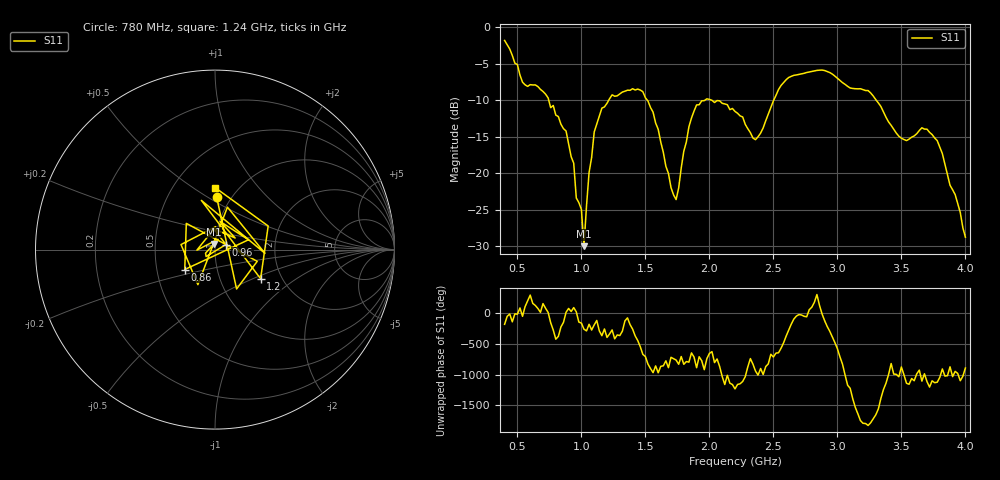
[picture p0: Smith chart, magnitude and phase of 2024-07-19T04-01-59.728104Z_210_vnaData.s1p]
!Created with skrf (http://scikit-rf.org).
# Hz S RI R 50.0
!freq ReS11 ImS11
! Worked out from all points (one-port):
!   181 points, 400 MHz to 4 GHz, reference 50 ohm
!   lowest |S11| = -30.0 dB at 1.02 GHz (marker M1), VSWR 1.07, Z = 49.3 + j3.04 ohm
!   |S11| at or under -10 dB: 744.9 MHz to 1.213 GHz (468.4 MHz wide, 47.8 % of centre); 2.02 GHz to 2.502 GHz (482.5 MHz wide, 21.3 % of centre); 3.304 GHz to end of sweep (the widest 3 of 4)
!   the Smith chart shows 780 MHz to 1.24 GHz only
!   S11 on the Smith chart (normalised r, x): 780 MHz: 0.86, +0.55; 860 MHz: 0.70, -0.16; 960 MHz: 1.13, +0.06; 1.2 GHz: 1.56, -0.56; 1.24 GHz: 0.79, +0.62
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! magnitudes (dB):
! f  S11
! 400 MHz  -1.8
! 540 MHz  -7.5
! 780 MHz  -10.7
! 860 MHz  -13.9
! 940 MHz  -18.6
! 960 MHz  -23.4
! 1 GHz  -25.0
! 1.02 GHz  -30.0
! 1.06 GHz  -19.9
! 1.1 GHz  -14.4
! 1.2 GHz  -10.4
! 1.24 GHz  -9.3
! 1.3 GHz  -9.1
! 1.48 GHz  -8.8
! 1.6 GHz  -14.0
! 1.72 GHz  -23.0
! 1.76 GHz  -22.0
! 1.84 GHz  -13.6
! 1.9 GHz  -10.6
! 2.2 GHz  -11.5
! 2.36 GHz  -15.4
! 2.66 GHz  -6.6
! 3.1 GHz  -8.3
! 3.24 GHz  -8.7
! 3.56 GHz  -15.3
! 3.66 GHz  -13.8
! 3.78 GHz  -15.5
! 4 GHz  -28.8
